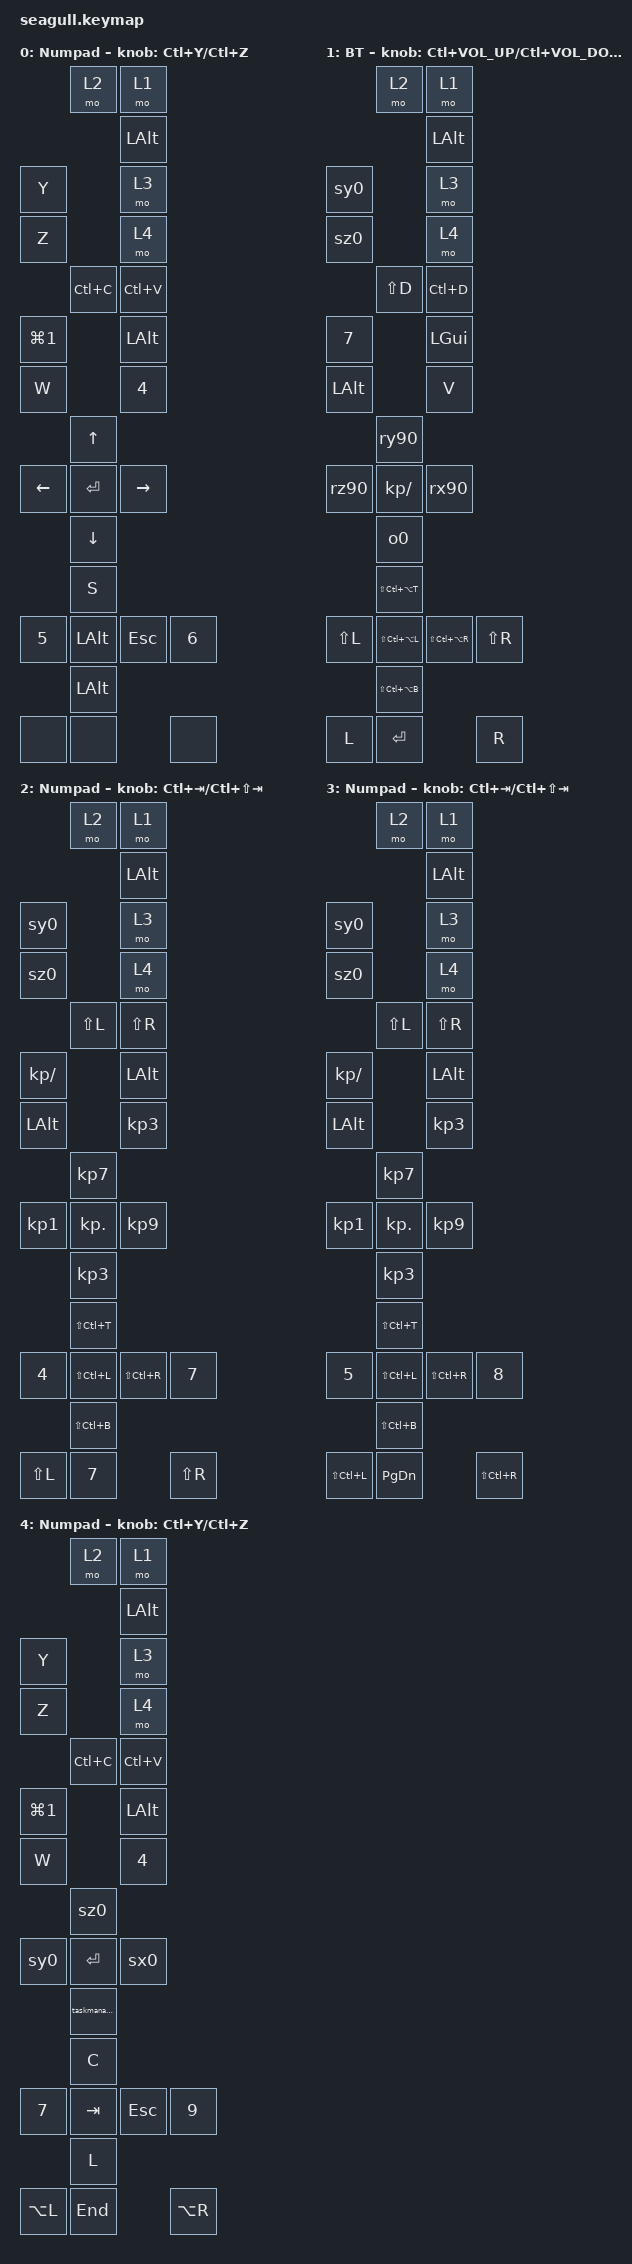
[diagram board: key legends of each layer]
#include <../boards/shields/kyria/boards/nice_nano.overlay>
#include <behaviors.dtsi>
#include <dt-bindings/zmk/keys.h>

#define NUMPAD 0
#define BLUETOOTH 1

/ {
    macros {
        sz0: sz0 {
            compatible = "zmk,behavior-macro";
            #binding-cells = <0>;
            bindings = <&none &kp S &kp Z &kp N0 &kp RET>;
            label = "SZ0";
        };


        sx0: sx0 {
            compatible = "zmk,behavior-macro";
            #binding-cells = <0>;
            bindings = <&none &kp S &kp X &kp N0 &kp RET>;
            label = "SX0";
        };

        sy0: sy0 {
            compatible = "zmk,behavior-macro";
            #binding-cells = <0>;
            bindings = <&none &kp S &kp Y &kp N0 &kp RET>;
            label = "SY0";
        };

        o0: o0 {
            compatible = "zmk,behavior-macro";
            #binding-cells = <0>;
            bindings = <&none &kp N0 &kp RET>;
            label = "O0";
        };

        rz90: rz90 {
            compatible = "zmk,behavior-macro";
            #binding-cells = <0>;
            bindings = <&none &kp R &kp Z &kp N9 &kp N0 &kp RET>;
            label = "RZ90";
        };

        rx90: rx90 {
            compatible = "zmk,behavior-macro";
            #binding-cells = <0>;
            bindings = <&none &kp R &kp X &kp N9 &kp N0 &kp RET>;
            label = "RX90";
        };

        ry90: ry90 {
            compatible = "zmk,behavior-macro";
            #binding-cells = <0>;
            bindings = <&none &kp R &kp Y &kp N9 &kp N0 &kp RET>;
            label = "RY90";
        };

        mum: mum {
            compatible = "zmk,behavior-macro";
            #binding-cells = <0>;
            bindings = <&none &kp>, <&macro_press>, <&kp FSLH>;

            label = "MUM";
        };

        taskmanager: taskmanager {
            compatible = "zmk,behavior-macro";
            #binding-cells = <0>;
            bindings = <&none>, <&macro_press>, <&kp LC(LA(DELETE))>;

            label = "TASKMANAGER";
        };

        w: w {
            compatible = "zmk,behavior-macro";
            #binding-cells = <0>;
            bindings = <&none>;
            label = "W";
        };
    };

    keymap {
        compatible = "zmk,keymap";

        layer_0 {
            display-name = "Numpad";

            // +---------------------------+                      
            // |   7  |   8  |   9  |   *  |                      
            // +------+------+------+------+
            // |   4  |   5  |   6  |   /  |                      
            // +------+------+------+------+-------+     
            // |   1  |   2  |   3  |   *  | L-BT  |                     
            // +------+------+------+------+-------+    
            // |   0  |   .  |  +   |   =  |                          
            // +------+------+------+------+  

            bindings = <
                       &mo 2      &mo 1
                                  &kp LALT

&kp Y                             &mo 3
&kp Z                             &mo 4
            &kp LC(C)  &kp LC(V)
&kp LG(N1)                        &kp LALT
&kp W                             &kp N4

            &kp UP
&kp LEFT    &kp RET    &kp RIGHT
            &kp DOWN

                       &kp S
&kp N5      &kp LALT              &kp ESC   &kp N6
                       &kp LALT

&none                  &none                &none
            >;

            sensor-bindings = <&inc_dec_kp LC(Y) LC(Z)>;
        };

        layer_bluetooth {
            display-name = "BT";

            // +---------------------------+                      
            // |CLEAR |      |      |BTLDR |                      
            // +------+------+------+------+
            // |      |      |      |      |                      
            // +------+------+------+------+-------+     
            // | PF1  | PF2  |  PF3 |      | L-BT  |                      
            // +------+------+------+------+-------+    
            // |      |      |      |      |                          
            // +------+------+------+------+     

            bindings = <
                              &mo 2              &mo 1
                                                 &kp LALT

&sy0                                             &mo 3
&sz0                                             &mo 4
           &kp LS(D)          &kp LC(D)
&kp N7                                           &kp LGUI
&kp LALT                                         &kp V

           &ry90
&rz90      &kp KP_DIVIDE      &rx90
           &o0

                              &kp LS(LC(LA(T)))
&kp LS(L)  &kp LS(LC(LA(L)))                     &kp LS(LC(LA(R)))  &kp LS(R)
                              &kp LS(LC(LA(B)))

&kp L                         &kp RET                               &kp R
            >;

            sensor-bindings = <&inc_dec_kp LC(C_VOLUME_UP) LC(C_VOLUME_DOWN)>;
        };

        layer_2 {
            display-name = "Numpad";
            bindings = <
                                  &mo 2            &mo 1
                                                   &kp LALT

&sy0                                               &mo 3
&sz0                                               &mo 4
                 &kp LS(L)        &kp LS(R)
&kp KP_DIVIDE                                      &kp LALT
&kp LALT                                           &kp KP_N3

                 &kp KP_NUMBER_7
&kp KP_NUMBER_1  &kp KP_DOT       &kp KP_NUMBER_9
                 &kp KP_NUMBER_3

                                  &kp LS(LC(T))
&kp N4           &kp LS(LC(L))                     &kp LS(LC(R))  &kp N7
                                  &kp LS(LC(B))

&kp LS(L)                         &kp N7                          &kp LS(R)
            >;

            sensor-bindings = <&inc_dec_kp LC(TAB) LC(LS(TAB))>;
        };

        layer_3 {
            display-name = "Numpad";
            bindings = <
                                  &mo 2            &mo 1
                                                   &kp LALT

&sy0                                               &mo 3
&sz0                                               &mo 4
                 &kp LS(L)        &kp LS(R)
&kp KP_DIVIDE                                      &kp LALT
&kp LALT                                           &kp KP_N3

                 &kp KP_NUMBER_7
&kp KP_NUMBER_1  &kp KP_DOT       &kp KP_NUMBER_9
                 &kp KP_NUMBER_3

                                  &kp LS(LC(T))
&kp N5           &kp LS(LC(L))                     &kp LS(LC(R))  &kp N8
                                  &kp LS(LC(B))

&kp LS(LC(L))                     &kp PG_DN                       &kp LS(LC(R))
            >;

            sensor-bindings = <&inc_dec_kp LC(TAB) LC(LS(TAB))>;
        };

        layer_4 {
            display-name = "Numpad";
            bindings = <
                          &mo 2      &mo 1
                                     &kp LALT

&kp Y                                &mo 3
&kp Z                                &mo 4
            &kp LC(C)     &kp LC(V)
&kp LG(N1)                           &kp LALT
&kp W                                &kp N4

            &sz0
&sy0        &kp RET       &sx0
            &taskmanager

                          &kp C
&kp N7      &kp TAB                  &kp ESC   &kp N9
                          &kp L

&kp LA(L)                 &kp END              &kp LA(R)
            >;

            sensor-bindings = <&inc_dec_kp LC(Y) LC(Z)>;
        };
    };
};
